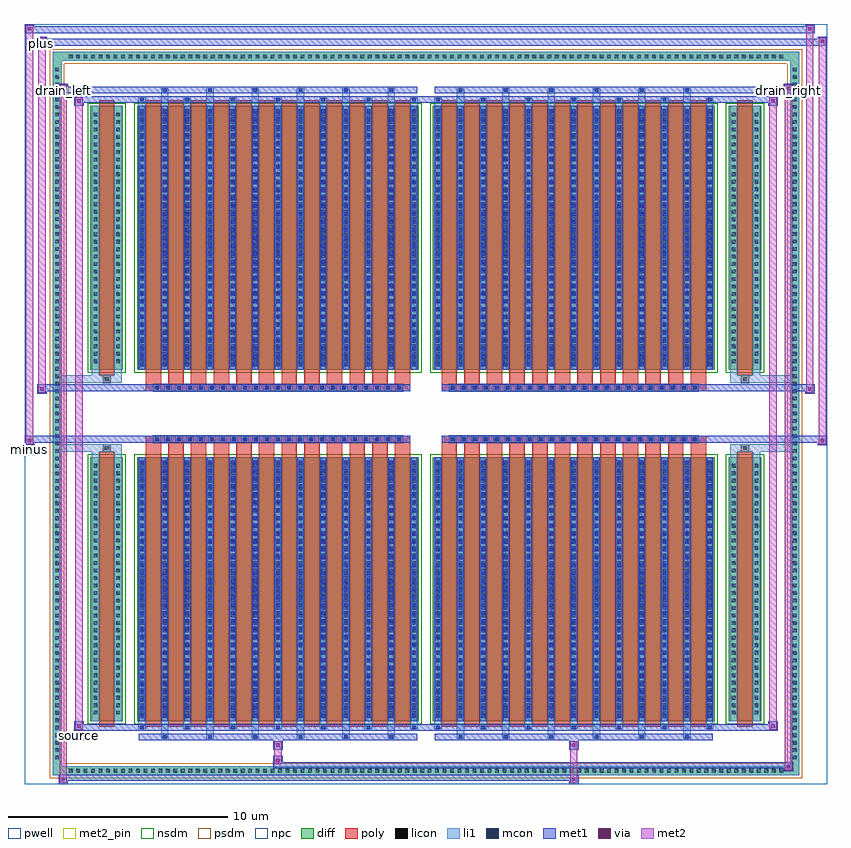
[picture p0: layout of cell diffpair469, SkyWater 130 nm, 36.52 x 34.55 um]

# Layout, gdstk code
import gdstk
lib = gdstk.Library(unit=1e-6, precision=5e-09)
def R(c, l, rs):  # rectangles x0, y0, x1, y1
    for r in rs: c.add(gdstk.rectangle(r[:2], r[2:], *l))
def A(c, l, x, y, w, h, nx, ny, dx, dy):  # array of equal rectangles
    R(c, l, [(x+i*dx, y+j*dy, x+i*dx+w, y+j*dy+h) for i in range(nx) for j in range(ny)])
def P(c, l, *ps):  # polygons
    for p in ps: c.add(gdstk.Polygon(p, *l))
pwell = (64, 44)
diff = (65, 20)
poly = (66, 20)
licon = (66, 44)
li1 = (67, 20)
mcon = (67, 44)
met1 = (68, 20)
via = (68, 44)
met2_pin = (69, 16)
met2 = (69, 20)
nsdm = (93, 44)
psdm = (94, 20)
npc = (95, 20)

diffpair469 = lib.new_cell('diffpair469')
R(diffpair469, pwell, [(-18.24,-16.84,18.24,17.71), (-15.56,-15.03,-0.01,-0.805), (0.01,-15.03,15.56,-0.805), (-15.56,0.805,-0.01,15.03), (0.01,0.805,15.56,15.03)])
A(diffpair469, diff, -16.355, -16.44, 0.41, 0.41, 96, 2, 0.34, 32.47)
A(diffpair469, diff, -16.97, -15.845, 0.41, 0.41, 1, 93, 0, 0.34)
A(diffpair469, diff, 16.56, -15.845, 0.41, 0.41, 1, 93, 0, 0.34)
R(diffpair469, diff, [(-16.355,-16.44,16.355,-16.03), (-16.97,-15.845,-16.56,15.845), (16.56,-15.845,16.97,15.845), (-15.25,-13.985,-13.77,-1.985), (-13.13,-13.985,-0.32,-1.985), (0.32,-13.985,13.13,-1.985), (13.77,-13.985,15.25,-1.985), (-15.25,1.985,-13.77,13.985), (-13.13,1.985,-0.32,13.985), (0.32,1.985,13.13,13.985), (13.77,1.985,15.25,13.985), (-16.355,16.03,16.355,16.44)])
P(diffpair469, diff, [(16.97,16.44),(-16.97,16.44),(-16.97,-16.03),(-16.56,-16.03),(-16.56,16.03),(16.56,16.03),(16.56,-16.03),(-16.56,-16.03),(-16.97,-16.03),(-16.97,-16.44),(16.97,-16.44)])
A(diffpair469, poly, -12.74, -14.235, 0.7, 12.5, 12, 2, 1.03, 15.97)
A(diffpair469, poly, 0.71, -14.235, 0.7, 12.5, 12, 2, 1.03, 15.97)
A(diffpair469, poly, -12.74, -1.735, 0.7, 0.4, 12, 2, 1.03, 3.07)
A(diffpair469, poly, 0.71, -1.735, 0.7, 0.4, 12, 2, 1.03, 3.07)
A(diffpair469, poly, -12.39, -1.335, 0.33, 0.33, 23, 2, 0.5, 2.34)
A(diffpair469, poly, 1.06, -1.335, 0.33, 0.33, 23, 2, 0.5, 2.34)
R(diffpair469, poly, [(-14.86,-14.235,-14.16,-1.735), (14.16,-14.235,14.86,-1.735), (-14.675,-1.735,-14.345,-1.405), (-14.675,-1.735,-14.345,-1.405), (14.345,-1.735,14.675,-1.405), (14.345,-1.735,14.675,-1.405), (-12.74,-1.335,-0.71,-1.005), (0.71,-1.335,12.74,-1.005), (-12.74,1.005,-0.71,1.335), (0.71,1.005,12.74,1.335), (-14.675,1.405,-14.345,1.735), (-14.675,1.405,-14.345,1.735), (14.345,1.405,14.675,1.735), (14.345,1.405,14.675,1.735), (-14.86,1.735,-14.16,14.235), (14.16,1.735,14.86,14.235)])
A(diffpair469, licon, -16.235, -16.32, 0.17, 0.17, 96, 2, 0.34, 32.47)
A(diffpair469, licon, -16.85, -15.725, 0.17, 0.17, 1, 93, 0, 0.34)
A(diffpair469, licon, 16.68, -15.725, 0.17, 0.17, 1, 93, 0, 0.34)
A(diffpair469, licon, -15.11, -13.68, 0.17, 0.17, 1, 34, 0, 0.34)
A(diffpair469, licon, -14.08, -13.68, 0.17, 0.17, 1, 34, 0, 0.34)
A(diffpair469, licon, -12.99, -13.68, 0.17, 0.17, 13, 34, 1.03, 0.34)
A(diffpair469, licon, 0.46, -13.68, 0.17, 0.17, 13, 34, 1.03, 0.34)
A(diffpair469, licon, 13.91, -13.68, 0.17, 0.17, 1, 34, 0, 0.34)
A(diffpair469, licon, 14.94, -13.68, 0.17, 0.17, 1, 34, 0, 0.34)
A(diffpair469, licon, -12.31, -1.255, 0.17, 0.17, 23, 2, 0.5, 2.34)
A(diffpair469, licon, 1.14, -1.255, 0.17, 0.17, 23, 2, 0.5, 2.34)
A(diffpair469, licon, -15.11, 2.29, 0.17, 0.17, 1, 34, 0, 0.34)
A(diffpair469, licon, -14.08, 2.29, 0.17, 0.17, 1, 34, 0, 0.34)
A(diffpair469, licon, -12.99, 2.29, 0.17, 0.17, 13, 34, 1.03, 0.34)
A(diffpair469, licon, 0.46, 2.29, 0.17, 0.17, 13, 34, 1.03, 0.34)
A(diffpair469, licon, 13.91, 2.29, 0.17, 0.17, 1, 34, 0, 0.34)
A(diffpair469, licon, 14.94, 2.29, 0.17, 0.17, 1, 34, 0, 0.34)
R(diffpair469, licon, [(-14.595,-1.655,-14.425,-1.485), (14.425,-1.655,14.595,-1.485), (-14.595,1.485,-14.425,1.655), (14.425,1.485,14.595,1.655)])
A(diffpair469, li1, -16.315, -16.4, 0.33, 0.33, 96, 2, 0.34, 32.47)
A(diffpair469, li1, -16.93, -15.805, 0.33, 0.33, 1, 93, 0, 0.34)
A(diffpair469, li1, 16.6, -15.805, 0.33, 0.33, 1, 93, 0, 0.34)
A(diffpair469, li1, -12.04, -14.79, 0.33, 0.805, 6, 2, 2.06, 28.775)
A(diffpair469, li1, -11.96, -14.79, 0.17, 0.17, 6, 2, 2.06, 29.41)
A(diffpair469, li1, 1.41, -14.79, 0.33, 0.805, 6, 2, 2.06, 28.775)
A(diffpair469, li1, 1.49, -14.79, 0.17, 0.17, 6, 2, 2.06, 29.41)
A(diffpair469, li1, -13.07, -14.36, 0.33, 0.375, 7, 2, 2.06, 28.345)
A(diffpair469, li1, -12.99, -14.36, 0.17, 0.17, 7, 2, 2.06, 28.55)
A(diffpair469, li1, 0.38, -14.36, 0.33, 0.375, 7, 2, 2.06, 28.345)
A(diffpair469, li1, 0.46, -14.36, 0.17, 0.17, 7, 2, 2.06, 28.55)
A(diffpair469, li1, -13.07, -13.985, 0.33, 12, 13, 2, 1.03, 15.97)
A(diffpair469, li1, 0.38, -13.985, 0.33, 12, 13, 2, 1.03, 15.97)
A(diffpair469, li1, -12.99, -13.83, 0.17, 0.17, 13, 33, 1.03, 0.36)
A(diffpair469, li1, -12.99, -13.83, 0.17, 11.69, 13, 2, 1.03, 15.97)
A(diffpair469, li1, 0.46, -13.83, 0.17, 0.17, 13, 33, 1.03, 0.36)
A(diffpair469, li1, 0.46, -13.83, 0.17, 11.69, 13, 2, 1.03, 15.97)
A(diffpair469, li1, -15.19, -13.76, 0.33, 0.33, 1, 34, 0, 0.34)
A(diffpair469, li1, -14.16, -13.76, 0.33, 0.33, 1, 34, 0, 0.34)
A(diffpair469, li1, -13.07, -13.76, 0.33, 0.33, 13, 34, 1.03, 0.34)
A(diffpair469, li1, 0.38, -13.76, 0.33, 0.33, 13, 34, 1.03, 0.34)
A(diffpair469, li1, 13.83, -13.76, 0.33, 0.33, 1, 34, 0, 0.34)
A(diffpair469, li1, 14.86, -13.76, 0.33, 0.33, 1, 34, 0, 0.34)
A(diffpair469, li1, -12.39, -1.335, 0.33, 0.33, 23, 2, 0.5, 2.34)
A(diffpair469, li1, 1.06, -1.335, 0.33, 0.33, 23, 2, 0.5, 2.34)
A(diffpair469, li1, -12.99, 2.14, 0.17, 0.17, 13, 33, 1.03, 0.36)
A(diffpair469, li1, 0.46, 2.14, 0.17, 0.17, 13, 33, 1.03, 0.36)
A(diffpair469, li1, -15.19, 2.21, 0.33, 0.33, 1, 34, 0, 0.34)
A(diffpair469, li1, -14.16, 2.21, 0.33, 0.33, 1, 34, 0, 0.34)
A(diffpair469, li1, -13.07, 2.21, 0.33, 0.33, 13, 34, 1.03, 0.34)
A(diffpair469, li1, 0.38, 2.21, 0.33, 0.33, 13, 34, 1.03, 0.34)
A(diffpair469, li1, 13.83, 2.21, 0.33, 0.33, 1, 34, 0, 0.34)
A(diffpair469, li1, 14.86, 2.21, 0.33, 0.33, 1, 34, 0, 0.34)
R(diffpair469, li1, [(-16.97,-16.44,-16.56,-16.03), (-16.97,-16.44,-16.56,-16.03), (-16.56,-16.44,16.56,-16.03), (16.56,-16.44,16.97,-16.03), (16.56,-16.44,16.97,-16.03), (-16.97,-16.03,-16.56,16.03), (16.56,-16.03,16.97,16.03), (-15.19,-13.985,-14.86,-1.985), (-14.16,-13.985,-13.83,-1.985), (13.83,-13.985,14.16,-1.985), (14.86,-13.985,15.19,-1.985), (-15.19,-1.985,-14.86,-1.405), (-14.16,-1.985,-13.83,-1.405), (13.83,-1.985,14.16,-1.405), (14.86,-1.985,15.19,-1.405), (-16.97,-1.735,-14.675,-1.405), (-15.19,-1.735,-14.675,-1.405), (-14.675,-1.735,-14.345,-1.405), (-14.345,-1.735,-13.83,-1.405), (13.83,-1.735,14.345,-1.405), (14.345,-1.735,14.675,-1.405), (14.345,-1.735,16.97,-1.405), (14.675,-1.735,15.19,-1.405), (-16.97,1.405,-14.675,1.735), (-15.19,1.405,-14.675,1.735), (-15.19,1.405,-14.86,1.985), (-14.675,1.405,-14.345,1.735), (-14.345,1.405,-13.83,1.735), (-14.16,1.405,-13.83,1.985), (13.83,1.405,14.345,1.735), (13.83,1.405,14.16,1.985), (14.345,1.405,14.675,1.735), (14.345,1.405,16.97,1.735), (14.675,1.405,15.19,1.735), (14.86,1.405,15.19,1.985), (-15.19,1.985,-14.86,13.985), (-14.16,1.985,-13.83,13.985), (13.83,1.985,14.16,13.985), (14.86,1.985,15.19,13.985), (-16.97,16.03,-16.56,16.44), (-16.97,16.03,-16.56,16.44), (-16.56,16.03,16.56,16.44), (16.56,16.03,16.97,16.44), (16.56,16.03,16.97,16.44)])
A(diffpair469, mcon, -11.96, -14.79, 0.17, 0.17, 6, 2, 2.06, 29.41)
A(diffpair469, mcon, 1.49, -14.79, 0.17, 0.17, 6, 2, 2.06, 29.41)
A(diffpair469, mcon, -12.99, -14.36, 0.17, 0.17, 7, 2, 2.06, 28.55)
A(diffpair469, mcon, 0.46, -14.36, 0.17, 0.17, 7, 2, 2.06, 28.55)
A(diffpair469, mcon, -12.99, -13.83, 0.17, 0.17, 13, 33, 1.03, 0.36)
A(diffpair469, mcon, 0.46, -13.83, 0.17, 0.17, 13, 33, 1.03, 0.36)
A(diffpair469, mcon, -12.31, -1.255, 0.17, 0.17, 23, 2, 0.5, 2.34)
A(diffpair469, mcon, 1.14, -1.255, 0.17, 0.17, 23, 2, 0.5, 2.34)
A(diffpair469, mcon, -12.99, 2.14, 0.17, 0.17, 13, 33, 1.03, 0.36)
A(diffpair469, mcon, 0.46, 2.14, 0.17, 0.17, 13, 33, 1.03, 0.36)
A(diffpair469, met1, -12.02, -14.85, 0.29, 0.29, 6, 2, 2.06, 29.41)
A(diffpair469, met1, 1.43, -14.85, 0.29, 0.29, 6, 2, 2.06, 29.41)
A(diffpair469, met1, -13.05, -14.42, 0.29, 0.29, 7, 2, 2.06, 28.55)
A(diffpair469, met1, 0.4, -14.42, 0.29, 0.29, 7, 2, 2.06, 28.55)
A(diffpair469, met1, -13.05, -13.985, 0.29, 12, 13, 2, 1.03, 15.97)
A(diffpair469, met1, 0.4, -13.985, 0.29, 12, 13, 2, 1.03, 15.97)
A(diffpair469, met1, -13.05, -13.89, 0.29, 0.29, 13, 33, 1.03, 0.36)
A(diffpair469, met1, 0.4, -13.89, 0.29, 0.29, 13, 33, 1.03, 0.36)
A(diffpair469, met1, -12.37, -1.315, 0.29, 0.29, 23, 2, 0.5, 2.34)
A(diffpair469, met1, 1.08, -1.315, 0.29, 0.29, 23, 2, 0.5, 2.34)
A(diffpair469, met1, -13.05, 2.08, 0.29, 0.29, 13, 33, 1.03, 0.36)
A(diffpair469, met1, 0.4, 2.08, 0.29, 0.29, 13, 33, 1.03, 0.36)
R(diffpair469, met1, [(-16.7,-16.84,-16.27,-16.41), (6.51,-16.84,6.94,-16.41), (-16.7,-16.7,6.94,-16.41), (16.27,-16.27,16.7,-15.84), (-6.94,-16.13,16.7,-15.84), (-6.94,-15.99,-6.51,-15.56), (-6.94,-15.28,-6.51,-14.85), (6.51,-15.28,6.94,-14.85), (-13.05,-14.85,-0.4,-14.56), (0.4,-14.85,13.05,-14.56), (-15.99,-14.42,-15.56,-13.99), (-15.99,-14.42,-13.05,-14.13), (-13.05,-14.42,-0.4,-14.13), (-0.4,-14.42,0.4,-14.13), (0.4,-14.42,13.05,-14.13), (13.05,-14.42,15.99,-14.13), (15.56,-14.42,15.99,-13.99), (-18.24,-1.435,-17.81,-1.005), (17.81,-1.435,18.24,-1.005), (-18.24,-1.335,-0.71,-1.005), (-12.74,-1.335,-0.71,-1.005), (0.71,-1.335,12.74,-1.005), (0.71,-1.335,18.24,-1.005), (-17.67,0.905,-17.24,1.335), (17.24,0.905,17.67,1.335), (-17.67,1.005,-12.74,1.335), (-12.74,1.005,-0.71,1.335), (0.71,1.005,12.74,1.335), (12.74,1.005,17.67,1.335), (-15.99,13.99,-15.56,14.42), (15.56,13.99,15.99,14.42), (-15.99,14.13,-13.05,14.42), (-13.05,14.13,-0.4,14.42), (-0.4,14.13,0.4,14.42), (0.4,14.13,13.05,14.42), (13.05,14.13,15.99,14.42), (-16.7,14.56,-16.27,14.99), (-16.7,14.56,-13.05,14.85), (-13.05,14.56,-0.4,14.85), (0.4,14.56,13.05,14.85), (13.05,14.56,16.7,14.85), (16.27,14.56,16.7,14.99), (-17.67,16.71,-17.24,17.14), (-17.67,16.71,-15.56,17.04), (-15.56,16.71,15.56,17.04), (15.56,16.71,18.24,17.04), (17.81,16.71,18.24,17.14), (-18.24,17.28,-17.81,17.71), (-18.24,17.28,-15.56,17.61), (-15.56,17.28,15.56,17.61), (15.56,17.28,17.67,17.61), (17.24,17.28,17.67,17.71)])
R(diffpair469, via, [(-16.56,-16.7,-16.41,-16.55), (6.65,-16.7,6.8,-16.55), (16.41,-16.13,16.56,-15.98), (-6.8,-15.85,-6.65,-15.7), (-6.8,-15.14,-6.65,-14.99), (6.65,-15.14,6.8,-14.99), (-15.85,-14.28,-15.7,-14.13), (15.7,-14.28,15.85,-14.13), (-18.1,-1.295,-17.95,-1.145), (17.95,-1.295,18.1,-1.145), (-17.53,1.045,-17.38,1.195), (17.38,1.045,17.53,1.195), (-15.85,14.13,-15.7,14.28), (15.7,14.13,15.85,14.28), (-16.56,14.7,-16.41,14.85), (16.41,14.7,16.56,14.85), (-17.53,16.85,-17.38,17), (17.95,16.85,18.1,17), (-18.1,17.42,-17.95,17.57), (17.38,17.42,17.53,17.57)])
R(diffpair469, met2_pin, [(-16.025,-14.87,-15.525,-14.37), (-18.275,-1.885,-17.775,-1.385), (-16.735,14.44,-16.235,14.94), (16.235,14.44,16.735,14.94), (-17.705,16.59,-17.205,17.09)])
R(diffpair469, met2, [(-16.65,-16.79,-16.32,-16.46), (-16.65,-16.79,-16.32,14.94), (6.56,-16.79,6.89,-16.46), (6.56,-16.46,6.89,-15.23), (16.32,-16.22,16.65,-15.89), (16.32,-16.22,16.65,14.94), (-6.89,-15.94,-6.56,-15.61), (-6.89,-15.61,-6.56,-15.23), (-6.89,-15.23,-6.56,-14.9), (6.56,-15.23,6.89,-14.9), (-15.94,-14.37,-15.61,-14.04), (-15.94,-14.37,-15.61,14.37), (15.61,-14.37,15.94,-14.04), (15.61,-14.37,15.94,14.37), (-18.19,-1.385,-17.86,-1.055), (-18.19,-1.385,-17.86,17.66), (17.86,-1.385,18.19,-1.055), (17.86,-1.385,18.19,17.09), (-17.62,0.955,-17.29,1.285), (-17.62,0.955,-17.29,17.09), (17.29,0.955,17.62,1.285), (17.29,0.955,17.62,17.66), (-15.94,14.04,-15.61,14.37), (15.61,14.04,15.94,14.37), (-16.65,14.61,-16.32,14.94), (16.32,14.61,16.65,14.94), (-17.62,16.76,-17.29,17.09), (17.86,16.76,18.19,17.09), (-18.19,17.33,-17.86,17.66), (17.29,17.33,17.62,17.66)])
P(diffpair469, met2, [(18.19,-1.385),(18.19,-1.385),(18.19,-1.055),(18.19,-1.055)],
  [(18.19,16.76),(18.19,16.76),(18.19,17.09),(18.19,17.09)],
  [(-17.86,-1.385),(-17.86,-1.385),(-17.86,-1.055),(-17.86,-1.055)],
  [(-17.86,17.33),(-17.86,17.33),(-17.86,17.66),(-17.86,17.66)],
  [(17.62,0.955),(17.62,0.955),(17.62,1.285),(17.62,1.285)],
  [(17.62,17.33),(17.62,17.33),(17.62,17.66),(17.62,17.66)],
  [(-17.29,0.955),(-17.29,0.955),(-17.29,1.285),(-17.29,1.285)],
  [(-17.29,16.76),(-17.29,16.76),(-17.29,17.09),(-17.29,17.09)],
  [(-16.32,-16.79),(-16.32,-16.79),(-16.32,-16.46),(-16.32,-16.46)],
  [(-16.32,14.61),(-16.32,14.61),(-16.32,14.94),(-16.32,14.94)],
  [(16.65,-16.22),(16.65,-16.22),(16.65,-15.89),(16.65,-15.89)],
  [(16.65,14.61),(16.65,14.61),(16.65,14.94),(16.65,14.94)],
  [(-15.61,-14.37),(-15.61,-14.37),(-15.61,-14.04),(-15.61,-14.04)],
  [(-15.61,14.04),(-15.61,14.04),(-15.61,14.37),(-15.61,14.37)],
  [(15.94,-14.37),(15.94,-14.37),(15.94,-14.04),(15.94,-14.04)],
  [(15.94,14.04),(15.94,14.04),(15.94,14.37),(15.94,14.37)])
R(diffpair469, nsdm, [(-15.38,-14.115,-13.64,-1.855), (-13.26,-14.115,-0.19,-1.855), (0.19,-14.115,13.26,-1.855), (13.64,-14.115,15.38,-1.855), (-15.38,1.855,-13.64,14.115), (-13.26,1.855,-0.19,14.115), (0.19,1.855,13.26,14.115), (13.64,1.855,15.38,14.115)])
P(diffpair469, psdm, [(17.1,16.57),(-17.1,16.57),(-17.1,-15.9),(-16.43,-15.9),(-16.43,15.9),(16.43,15.9),(16.43,-15.9),(-16.43,-15.9),(-17.1,-15.9),(-17.1,-16.57),(17.1,-16.57)])
A(diffpair469, npc, -12.41, -1.355, 0.37, 0.37, 23, 2, 0.5, 2.34)
A(diffpair469, npc, 1.04, -1.355, 0.37, 0.37, 23, 2, 0.5, 2.34)
R(diffpair469, npc, [(-14.695,-1.755,-14.325,-1.385), (14.325,-1.755,14.695,-1.385), (-12.41,-1.355,-11.54,-0.985), (-12.41,-1.355,-11.54,-0.985), (-11.91,-1.355,-11.04,-0.985), (-11.91,-1.355,-11.04,-0.985), (-11.41,-1.355,-10.54,-0.985), (-11.41,-1.355,-10.54,-0.985), (-10.91,-1.355,-10.04,-0.985), (-10.91,-1.355,-10.04,-0.985), (-10.41,-1.355,-9.54,-0.985), (-10.41,-1.355,-9.54,-0.985), (-9.91,-1.355,-9.04,-0.985), (-9.91,-1.355,-9.04,-0.985), (-9.41,-1.355,-8.54,-0.985), (-9.41,-1.355,-8.54,-0.985), (-8.91,-1.355,-8.04,-0.985), (-8.91,-1.355,-8.04,-0.985), (-8.41,-1.355,-7.54,-0.985), (-8.41,-1.355,-7.54,-0.985), (-7.91,-1.355,-7.04,-0.985), (-7.91,-1.355,-7.04,-0.985), (-7.41,-1.355,-6.54,-0.985), (-7.41,-1.355,-6.54,-0.985), (-6.91,-1.355,-6.04,-0.985), (-6.91,-1.355,-6.04,-0.985), (-6.41,-1.355,-5.54,-0.985), (-6.41,-1.355,-5.54,-0.985), (-5.91,-1.355,-5.04,-0.985), (-5.91,-1.355,-5.04,-0.985), (-5.41,-1.355,-4.54,-0.985), (-5.41,-1.355,-4.54,-0.985), (-4.91,-1.355,-4.04,-0.985), (-4.91,-1.355,-4.04,-0.985), (-4.41,-1.355,-3.54,-0.985), (-4.41,-1.355,-3.54,-0.985), (-3.91,-1.355,-3.04,-0.985), (-3.91,-1.355,-3.04,-0.985), (-3.41,-1.355,-2.54,-0.985), (-3.41,-1.355,-2.54,-0.985), (-2.91,-1.355,-2.04,-0.985), (-2.91,-1.355,-2.04,-0.985), (-2.41,-1.355,-1.54,-0.985), (-2.41,-1.355,-1.54,-0.985), (-1.91,-1.355,-1.04,-0.985), (-1.91,-1.355,-1.04,-0.985), (1.04,-1.355,1.91,-0.985), (1.04,-1.355,1.91,-0.985), (1.54,-1.355,2.41,-0.985), (1.54,-1.355,2.41,-0.985), (2.04,-1.355,2.91,-0.985), (2.04,-1.355,2.91,-0.985), (2.54,-1.355,3.41,-0.985), (2.54,-1.355,3.41,-0.985), (3.04,-1.355,3.91,-0.985), (3.04,-1.355,3.91,-0.985), (3.54,-1.355,4.41,-0.985), (3.54,-1.355,4.41,-0.985), (4.04,-1.355,4.91,-0.985), (4.04,-1.355,4.91,-0.985), (4.54,-1.355,5.41,-0.985), (4.54,-1.355,5.41,-0.985), (5.04,-1.355,5.91,-0.985), (5.04,-1.355,5.91,-0.985), (5.54,-1.355,6.41,-0.985), (5.54,-1.355,6.41,-0.985), (6.04,-1.355,6.91,-0.985), (6.04,-1.355,6.91,-0.985), (6.54,-1.355,7.41,-0.985), (6.54,-1.355,7.41,-0.985), (7.04,-1.355,7.91,-0.985), (7.04,-1.355,7.91,-0.985), (7.54,-1.355,8.41,-0.985), (7.54,-1.355,8.41,-0.985), (8.04,-1.355,8.91,-0.985), (8.04,-1.355,8.91,-0.985), (8.54,-1.355,9.41,-0.985), (8.54,-1.355,9.41,-0.985), (9.04,-1.355,9.91,-0.985), (9.04,-1.355,9.91,-0.985), (9.54,-1.355,10.41,-0.985), (9.54,-1.355,10.41,-0.985), (10.04,-1.355,10.91,-0.985), (10.04,-1.355,10.91,-0.985), (10.54,-1.355,11.41,-0.985), (10.54,-1.355,11.41,-0.985), (11.04,-1.355,11.91,-0.985), (11.04,-1.355,11.91,-0.985), (11.54,-1.355,12.41,-0.985), (11.54,-1.355,12.41,-0.985), (-12.41,0.985,-11.54,1.355), (-12.41,0.985,-11.54,1.355), (-11.91,0.985,-11.04,1.355), (-11.91,0.985,-11.04,1.355), (-11.41,0.985,-10.54,1.355), (-11.41,0.985,-10.54,1.355), (-10.91,0.985,-10.04,1.355), (-10.91,0.985,-10.04,1.355), (-10.41,0.985,-9.54,1.355), (-10.41,0.985,-9.54,1.355), (-9.91,0.985,-9.04,1.355), (-9.91,0.985,-9.04,1.355), (-9.41,0.985,-8.54,1.355), (-9.41,0.985,-8.54,1.355), (-8.91,0.985,-8.04,1.355), (-8.91,0.985,-8.04,1.355), (-8.41,0.985,-7.54,1.355), (-8.41,0.985,-7.54,1.355), (-7.91,0.985,-7.04,1.355), (-7.91,0.985,-7.04,1.355), (-7.41,0.985,-6.54,1.355), (-7.41,0.985,-6.54,1.355), (-6.91,0.985,-6.04,1.355), (-6.91,0.985,-6.04,1.355), (-6.41,0.985,-5.54,1.355), (-6.41,0.985,-5.54,1.355), (-5.91,0.985,-5.04,1.355), (-5.91,0.985,-5.04,1.355), (-5.41,0.985,-4.54,1.355), (-5.41,0.985,-4.54,1.355), (-4.91,0.985,-4.04,1.355), (-4.91,0.985,-4.04,1.355), (-4.41,0.985,-3.54,1.355), (-4.41,0.985,-3.54,1.355), (-3.91,0.985,-3.04,1.355), (-3.91,0.985,-3.04,1.355), (-3.41,0.985,-2.54,1.355), (-3.41,0.985,-2.54,1.355), (-2.91,0.985,-2.04,1.355), (-2.91,0.985,-2.04,1.355), (-2.41,0.985,-1.54,1.355), (-2.41,0.985,-1.54,1.355), (-1.91,0.985,-1.04,1.355), (-1.91,0.985,-1.04,1.355), (1.04,0.985,1.91,1.355), (1.04,0.985,1.91,1.355), (1.54,0.985,2.41,1.355), (1.54,0.985,2.41,1.355), (2.04,0.985,2.91,1.355), (2.04,0.985,2.91,1.355), (2.54,0.985,3.41,1.355), (2.54,0.985,3.41,1.355), (3.04,0.985,3.91,1.355), (3.04,0.985,3.91,1.355), (3.54,0.985,4.41,1.355), (3.54,0.985,4.41,1.355), (4.04,0.985,4.91,1.355), (4.04,0.985,4.91,1.355), (4.54,0.985,5.41,1.355), (4.54,0.985,5.41,1.355), (5.04,0.985,5.91,1.355), (5.04,0.985,5.91,1.355), (5.54,0.985,6.41,1.355), (5.54,0.985,6.41,1.355), (6.04,0.985,6.91,1.355), (6.04,0.985,6.91,1.355), (6.54,0.985,7.41,1.355), (6.54,0.985,7.41,1.355), (7.04,0.985,7.91,1.355), (7.04,0.985,7.91,1.355), (7.54,0.985,8.41,1.355), (7.54,0.985,8.41,1.355), (8.04,0.985,8.91,1.355), (8.04,0.985,8.91,1.355), (8.54,0.985,9.41,1.355), (8.54,0.985,9.41,1.355), (9.04,0.985,9.91,1.355), (9.04,0.985,9.91,1.355), (9.54,0.985,10.41,1.355), (9.54,0.985,10.41,1.355), (10.04,0.985,10.91,1.355), (10.04,0.985,10.91,1.355), (10.54,0.985,11.41,1.355), (10.54,0.985,11.41,1.355), (11.04,0.985,11.91,1.355), (11.04,0.985,11.91,1.355), (11.54,0.985,12.41,1.355), (11.54,0.985,12.41,1.355), (-14.695,1.385,-14.325,1.755), (14.325,1.385,14.695,1.755)])
diffpair469.add(gdstk.Label('minus', (-18.025,-1.635), layer=69, texttype=5))
diffpair469.add(gdstk.Label('drain_right', (16.485,14.69), layer=69, texttype=5))
diffpair469.add(gdstk.Label('drain_left', (-16.485,14.69), layer=69, texttype=5))
diffpair469.add(gdstk.Label('source', (-15.775,-14.62), layer=69, texttype=5))
diffpair469.add(gdstk.Label('plus', (-17.455,16.84), layer=69, texttype=5))

lib.write_gds('diffpair469.gds')
